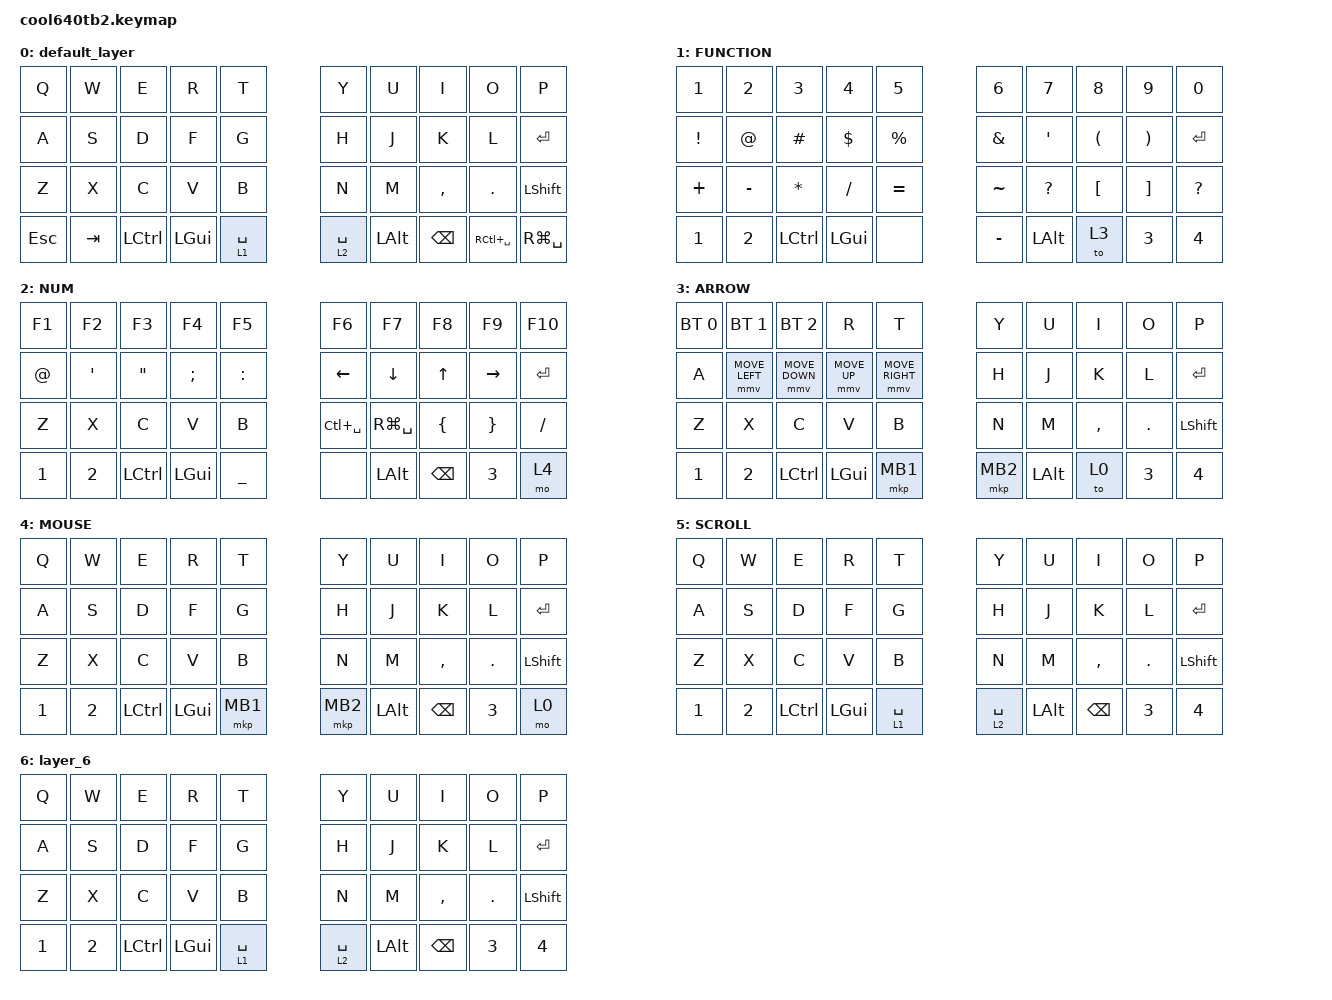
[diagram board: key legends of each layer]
// #define ZMK_POINTING_DEFAULT_MOVE_VAL 800 
// #define ZMK_POINTING_DEFAULT_SCRL_VAL 120

#include <behaviors.dtsi>
#include <dt-bindings/zmk/bt.h>
#include <dt-bindings/zmk/keys.h>
#include <dt-bindings/zmk/pointing.h>

// #include <dt-bindings/zmk/pointing.h>

#define MOUSE 4
#define SCROLL 5
#define NUM 6

&mt {
    flavor = "balanced";
    quick-tap-ms = <0>;
};

/ {
    combos {
        compatible = "zmk,combos";

        tab {
            bindings = <&kp ESCAPE>;
            key-positions = <0 1>;
            layers = <0>;
        };

        shift_tab {
            bindings = <&kp TAB>;
            key-positions = <10 11>;
            require-prior-idle-ms = <0>;
            layers = <0>;
        };

        double_quotation {
            bindings = <&kp CAPS>;
            key-positions = <20 21>;
            layers = <0>;
        };

        eq {
            bindings = <&bt BT_CLR_ALL>;
            key-positions = <8 9>;
            layers = <2>;
        };

        BS {
            bindings = <&kp BACKSPACE>;
            key-positions = <8 9>;
            layers = <0>;
        };
    };

    macros {
        to_layer_0: to_layer_0 {
            compatible = "zmk,behavior-macro-one-param";
            #binding-cells = <1>;
            bindings = <&to 0 &macro_param_1to1 &kp MACRO_PLACEHOLDER>;
            label = "TO_LAYER_0";
        };
    };

    behaviors {
        lt_to_layer_0: lt_to_layer_0 {
            compatible = "zmk,behavior-hold-tap";
            label = "LAYER_TAP_TO_0";
            bindings = <&mo>, <&to_layer_0>;

            #binding-cells = <2>;
            tapping-term-ms = <200>;
        };
    };

    keymap {
        compatible = "zmk,keymap";

        default_layer {
            bindings = <
&kp Q       &kp W    &kp E             &kp R         &kp T        &kp Y        &kp U         &kp I          &kp O          &kp P
&kp A       &kp S    &kp D             &kp F         &kp G        &kp H        &kp J         &kp K          &kp L          &kp ENTER
&kp Z       &kp X    &kp C             &kp V         &kp B        &kp N        &kp M         &kp COMMA      &kp PERIOD     &kp LEFT_SHIFT
&kp ESCAPE  &kp TAB  &kp LEFT_CONTROL  &kp LEFT_GUI  &lt 1 SPACE  &lt 2 SPACE  &kp LEFT_ALT  &kp BACKSPACE  &kp RC(SPACE)  &kp RG(SPACE)
            >;
        };

        FUNCTION {
            bindings = <
&kp N1           &kp N2       &kp N3            &kp N4        &kp N5       &kp N6         &kp N7        &kp N8                &kp N9                 &kp N0
&kp EXCLAMATION  &kp AT_SIGN  &kp HASH          &kp DOLLAR    &kp PERCENT  &kp AMPERSAND  &kp SQT       &kp LEFT_PARENTHESIS  &kp RIGHT_PARENTHESIS  &kp ENTER
&kp PLUS         &kp MINUS    &kp ASTERISK      &kp SLASH     &kp EQUAL    &kp TILDE      &kp QUESTION  &kp LEFT_BRACKET      &kp RIGHT_BRACKET      &kp QUESTION
&kp N1           &kp N2       &kp LEFT_CONTROL  &kp LEFT_GUI  &none        &kp MINUS      &kp LEFT_ALT  &to 3                 &kp N3                 &kp N4
            >;
        };

        NUM {
            bindings = <
&kp F1       &kp F2   &kp F3             &kp F4         &kp F5          &kp F6         &kp F7          &kp F8          &kp F9           &kp F10
&kp AT_SIGN  &kp SQT  &kp DOUBLE_QUOTES  &kp SEMICOLON  &kp COLON       &kp LEFT       &kp DOWN_ARROW  &kp UP_ARROW    &kp RIGHT        &kp ENTER
&kp Z        &kp X    &kp C              &kp V          &kp B           &kp LC(SPACE)  &kp RG(SPACE)   &kp LEFT_BRACE  &kp RIGHT_BRACE  &kp SLASH
&kp N1       &kp N2   &kp LEFT_CONTROL   &kp LEFT_GUI   &kp UNDERSCORE  &none          &kp LEFT_ALT    &kp BACKSPACE   &kp N3           &mo 4
            >;
        };

        ARROW {
            bindings = <
&bt BT_SEL 0  &bt BT_SEL 1    &bt BT_SEL 2      &kp R         &kp T            &kp Y     &kp U         &kp I      &kp O       &kp P
&kp A         &mmv MOVE_LEFT  &mmv MOVE_DOWN    &mmv MOVE_UP  &mmv MOVE_RIGHT  &kp H     &kp J         &kp K      &kp L       &kp ENTER
&kp Z         &kp X           &kp C             &kp V         &kp B            &kp N     &kp M         &kp COMMA  &kp PERIOD  &kp LEFT_SHIFT
&kp N1        &kp N2          &kp LEFT_CONTROL  &kp LEFT_GUI  &mkp MB1         &mkp MB2  &kp LEFT_ALT  &to 0      &kp N3      &kp N4
            >;
        };

        MOUSE {
            bindings = <
&kp Q   &kp W   &kp E             &kp R         &kp T     &kp Y     &kp U         &kp I          &kp O       &kp P
&kp A   &kp S   &kp D             &kp F         &kp G     &kp H     &kp J         &kp K          &kp L       &kp ENTER
&kp Z   &kp X   &kp C             &kp V         &kp B     &kp N     &kp M         &kp COMMA      &kp PERIOD  &kp LEFT_SHIFT
&kp N1  &kp N2  &kp LEFT_CONTROL  &kp LEFT_GUI  &mkp MB1  &mkp MB2  &kp LEFT_ALT  &kp BACKSPACE  &kp N3      &mo 0
            >;
        };

        SCROLL {
            bindings = <
&kp Q   &kp W   &kp E             &kp R         &kp T        &kp Y        &kp U         &kp I          &kp O       &kp P
&kp A   &kp S   &kp D             &kp F         &kp G        &kp H        &kp J         &kp K          &kp L       &kp ENTER
&kp Z   &kp X   &kp C             &kp V         &kp B        &kp N        &kp M         &kp COMMA      &kp PERIOD  &kp LEFT_SHIFT
&kp N1  &kp N2  &kp LEFT_CONTROL  &kp LEFT_GUI  &lt 1 SPACE  &lt 2 SPACE  &kp LEFT_ALT  &kp BACKSPACE  &kp N3      &kp N4
            >;
        };

        layer_6 {
            bindings = <
&kp Q   &kp W   &kp E             &kp R         &kp T        &kp Y        &kp U         &kp I          &kp O       &kp P
&kp A   &kp S   &kp D             &kp F         &kp G        &kp H        &kp J         &kp K          &kp L       &kp ENTER
&kp Z   &kp X   &kp C             &kp V         &kp B        &kp N        &kp M         &kp COMMA      &kp PERIOD  &kp LEFT_SHIFT
&kp N1  &kp N2  &kp LEFT_CONTROL  &kp LEFT_GUI  &lt 1 SPACE  &lt 2 SPACE  &kp LEFT_ALT  &kp BACKSPACE  &kp N3      &kp N4
            >;
        };
    };
};
